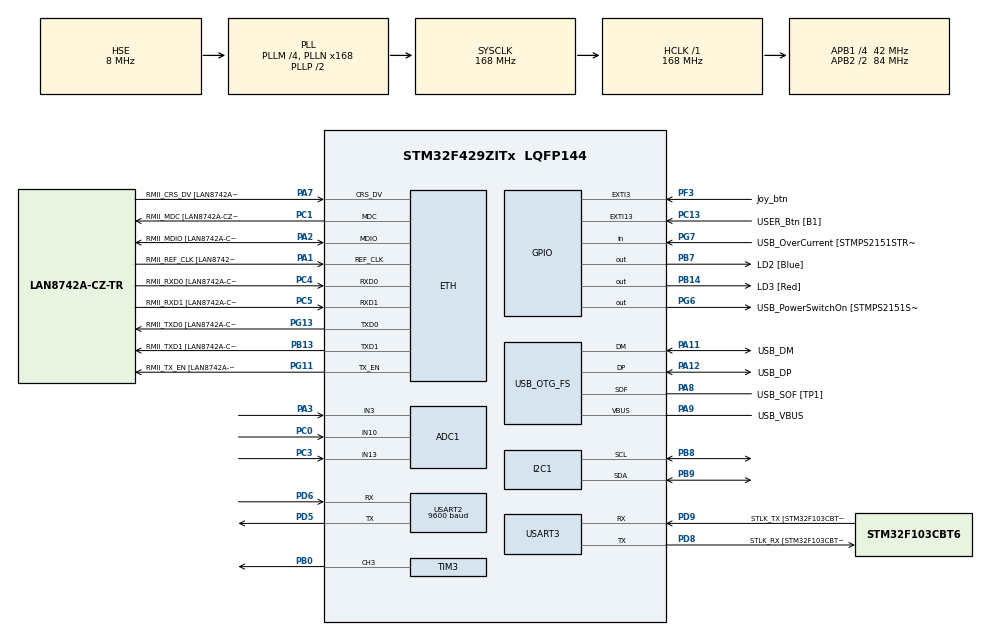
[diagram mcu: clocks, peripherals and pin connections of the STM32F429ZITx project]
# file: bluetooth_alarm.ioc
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ADC1.Channel-0\#ChannelRegularConversion=ADC_CHANNEL_10
ADC1.Channel-1\#ChannelRegularConversion=ADC_CHANNEL_13
ADC1.ContinuousConvMode=ENABLE
ADC1.DMAContinuousRequests=ENABLE
ADC1.ExternalTrigConv=ADC_SOFTWARE_START
ADC1.NbrOfConversion=2
ADC1.NbrOfConversionFlag=1
ADC1.Rank-0\#ChannelRegularConversion=1
ADC1.Rank-1\#ChannelRegularConversion=2
ADC1.SamplingTime-0\#ChannelRegularConversion=ADC_SAMPLETIME_84CYCLES
ADC1.SamplingTime-1\#ChannelRegularConversion=ADC_SAMPLETIME_84CYCLES
ADC1.ScanConvMode=ENABLE
ADC1.master=1
Dma.ADC1.0.Direction=DMA_PERIPH_TO_MEMORY
Dma.ADC1.0.FIFOMode=DMA_FIFOMODE_DISABLE
Dma.ADC1.0.Instance=DMA2_Stream0
Dma.ADC1.0.MemDataAlignment=DMA_MDATAALIGN_WORD
Dma.ADC1.0.MemInc=DMA_MINC_ENABLE
Dma.ADC1.0.Mode=DMA_CIRCULAR
Dma.ADC1.0.PeriphDataAlignment=DMA_PDATAALIGN_WORD
Dma.ADC1.0.PeriphInc=DMA_PINC_DISABLE
Dma.ADC1.0.Priority=DMA_PRIORITY_LOW
Dma.Request0=ADC1
ETH.MediaInterface=HAL_ETH_RMII_MODE
ETH.PHY_Name=LAN8742A_PHY_ADDRESS
ETH.PHY_Value=0
ETH.PhyAddress=0
Mcu.Family=STM32F4
Mcu.Name=STM32F429ZITx
Mcu.Package=LQFP144
NVIC.ADC_IRQn=true\:0\:0\:false\:true\:true\:3\:true\:true\:true
NVIC.DMA2_Stream0_IRQn=true\:0\:0\:false\:false\:true\:false\:true\:true
NVIC.EXTI15_10_IRQn=true\:0\:0\:false\:true\:true\:2\:true\:true\:true
NVIC.EXTI3_IRQn=true\:0\:0\:false\:false\:true\:true\:true\:true
NVIC.PriorityGroup=NVIC_PRIORITYGROUP_4
NVIC.RTC_Alarm_IRQn=true\:0\:0\:false\:true\:true\:4\:true\:true\:true
NVIC.TIM2_IRQn=true\:0\:0\:false\:true\:true\:5\:true\:true\:true
NVIC.USART2_IRQn=true\:0\:0\:false\:true\:true\:6\:true\:true\:true
NVIC.USART3_IRQn=true\:0\:0\:false\:true\:true\:1\:true\:true\:true
PA1.GPIO_Label=RMII_REF_CLK [LAN8742A-CZ-TR_REFCLK0]
PA1.Mode=RMII
PA1.Signal=ETH_REF_CLK
PA10.GPIO_Label=USB_ID
PA10.Signal=USB_OTG_FS_ID
PA11.GPIO_Label=USB_DM
PA11.Mode=Device_Only
PA11.Signal=USB_OTG_FS_DM
PA12.GPIO_Label=USB_DP
PA12.Mode=Device_Only
PA12.Signal=USB_OTG_FS_DP
PA13.GPIO_Label=TMS
PA13.Mode=Serial_Wire
PA13.Signal=SYS_JTMS-SWDIO
PA14.GPIO_Label=TCK
PA14.Mode=Serial_Wire
PA14.Signal=SYS_JTCK-SWCLK
PA2.GPIO_Label=RMII_MDIO [LAN8742A-CZ-TR_MDIO]
PA2.Mode=RMII
PA2.Signal=ETH_MDIO
PA3.Signal=ADCx_IN3
PA7.GPIO_Label=RMII_CRS_DV [LAN8742A-CZ-TR_CRS_DV]
PA7.Mode=RMII
PA7.Signal=ETH_CRS_DV
PA8.GPIO_Label=USB_SOF [TP1]
PA8.Mode=Activate_SOF_FS
PA8.Signal=USB_OTG_FS_SOF
PA9.GPIO_Label=USB_VBUS
PA9.Mode=Activate_VBUS
PA9.Signal=USB_OTG_FS_VBUS
PB0.Signal=S_TIM3_CH3
PB13.GPIO_Label=RMII_TXD1 [LAN8742A-CZ-TR_TXD1]
PB13.Mode=RMII
PB13.Signal=ETH_TXD1
PB14.GPIO_Label=LD3 [Red]
PB14.Signal=GPIO_Output
PB7.GPIO_Label=LD2 [Blue]
PB7.Signal=GPIO_Output
PB8.Mode=I2C
PB8.Signal=I2C1_SCL
PB9.Mode=I2C
PB9.Signal=I2C1_SDA
PC0.Signal=ADCx_IN10
PC1.GPIO_Label=RMII_MDC [LAN8742A-CZ-TR_MDC]
PC1.Mode=RMII
PC1.Signal=ETH_MDC
PC13.GPIO_Label=USER_Btn [B1]
PC13.Signal=GPXTI13
PC14/OSC32_IN.Mode=LSE-External-Oscillator
PC14/OSC32_IN.Signal=RCC_OSC32_IN
PC15/OSC32_OUT.Mode=LSE-External-Oscillator
PC15/OSC32_OUT.Signal=RCC_OSC32_OUT
PC3.Signal=ADCx_IN13
PC4.GPIO_Label=RMII_RXD0 [LAN8742A-CZ-TR_RXD0]
PC4.Mode=RMII
PC4.Signal=ETH_RXD0
PC5.GPIO_Label=RMII_RXD1 [LAN8742A-CZ-TR_RXD1]
PC5.Mode=RMII
PC5.Signal=ETH_RXD1
PD5.Mode=Asynchronous
PD5.Signal=USART2_TX
PD6.Mode=Asynchronous
PD6.Signal=USART2_RX
PD8.GPIO_Label=STLK_RX [STM32F103CBT6_PA3]
PD8.Mode=Asynchronous
PD8.Signal=USART3_TX
PD9.GPIO_Label=STLK_TX [STM32F103CBT6_PA2]
PD9.Mode=Asynchronous
PD9.Signal=USART3_RX
PF3.GPIO_Label=Joy_btn
PF3.GPIO_ModeDefaultEXTI=GPIO_MODE_IT_RISING_FALLING
PF3.GPIO_PuPd=GPIO_PULLUP
PF3.Signal=GPXTI3
PG11.GPIO_Label=RMII_TX_EN [LAN8742A-CZ-TR_TXEN]
PG11.Mode=RMII
PG11.Signal=ETH_TX_EN
PG13.GPIO_Label=RMII_TXD0 [LAN8742A-CZ-TR_TXD0]
PG13.Mode=RMII
PG13.Signal=ETH_TXD0
PG6.GPIO_Label=USB_PowerSwitchOn [STMPS2151STR_EN]
PG6.Signal=GPIO_Output
PG7.GPIO_Label=USB_OverCurrent [STMPS2151STR_FAULT]
PG7.Signal=GPIO_Input
PH0/OSC_IN.GPIO_Label=MCO [STM32F103CBT6_PA8]
PH0/OSC_IN.Mode=HSE-External-Clock-Source
PH0/OSC_IN.Signal=RCC_OSC_IN
PH1/OSC_OUT.Mode=HSE-External-Clock-Source
PH1/OSC_OUT.Signal=RCC_OSC_OUT
ProjectManager.HeapSize=0x200
ProjectManager.StackSize=0x400
ProjectManager.TargetToolchain=STM32CubeIDE
RCC.48MHZClocksFreq_Value=48000000
RCC.AHBFreq_Value=168000000
RCC.APB1CLKDivider=RCC_HCLK_DIV4
RCC.APB1Freq_Value=42000000
RCC.APB1TimFreq_Value=84000000
RCC.APB2CLKDivider=RCC_HCLK_DIV2
RCC.APB2Freq_Value=84000000
RCC.APB2TimCLKDivider=2
RCC.APB2TimFreq_Value=168000000
RCC.CortexFreq_Value=168000000
RCC.HCLKFreq_Value=168000000
RCC.HSE_VALUE=8000000
RCC.HSI_VALUE=16000000
RCC.PLLM=4
RCC.PLLMUL=RCC_PLL_MUL9
RCC.PLLN=168
RCC.PLLQ=7
RCC.PRESCALERUSB=RCC_USBCLKSOURCE_PLL_DIV1_5
RCC.RCC_RTC_Clock_Source=RCC_RTCCLKSOURCE_LSE
RCC.RCC_RTC_Clock_SourceVirtual=RCC_RTCCLKSOURCE_LSE
RCC.SYSCLKFreq_VALUE=168000000
RCC.SYSCLKSource=RCC_SYSCLKSOURCE_PLLCLK
RCC.SYSCLKSourceVirtual=RCC_SYSCLKSOURCE_PLLCLK
RCC.USBFreq_Value=48000000
RCC.VCOOutputFreq_Value=336000000
RTC.Alarm=RTC_ALARM_A
RTC.AlarmMaskDateWeekDay=RTC_ALARMMASK_DATEWEEKDAY
RTC.Date=16
RTC.DayLightSaving=RTC_DAYLIGHTSAVING_NONE
RTC.Format=RTC_FORMAT_BCD
RTC.HourFormat=RTC_HOURFORMAT_12
RTC.Hours=0
RTC.Hours_A=0
RTC.Minutes=0
RTC.Month=RTC_MONTH_NOVEMBER
RTC.Seconds=0
RTC.Seconds_A=45
RTC.SubSeconds_A=0
RTC.WeekDay=RTC_WEEKDAY_THURSDAY
RTC.Year=23
SH.ADCx_IN10.0=ADC1_IN10,IN10
SH.ADCx_IN13.0=ADC1_IN13,IN13
SH.ADCx_IN3.0=ADC1_IN3,IN3
SH.S_TIM3_CH3.0=TIM3_CH3,PWM Generation3 CH3
TIM2.Period=200-1
TIM2.Prescaler=8400-1
TIM3.AutoReloadPreload=TIM_AUTORELOAD_PRELOAD_ENABLE
TIM3.Channel-PWM\ Generation3\ CH3=TIM_CHANNEL_3
TIM3.Period=199
TIM3.Prescaler=15
USART2.BaudRate=9600
USART2.VirtualMode=VM_ASYNC
USART3.VirtualMode=VM_ASYNC
USB_OTG_FS.VirtualMode=Device_Only
VP_RTC_VS_RTC_Activate.Mode=RTC_Enabled
VP_RTC_VS_RTC_Alarm_A_Intern.Mode=Alarm A
VP_RTC_VS_RTC_Calendar.Mode=RTC_Calendar
VP_TIM2_VS_ClockSourceINT.Mode=Internal
VP_TIM3_VS_ClockSourceINT.Mode=Internal
board=NUCLEO-F429ZI

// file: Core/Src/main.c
/* USER CODE BEGIN Header */
/**
 ******************************************************************************
 * @file           : main.c
 * @brief          : Main program body
 ******************************************************************************
 * @attention
 *
 * Copyright (c) 2023 STMicroelectronics.
 * All rights reserved.
 *
 * This software is licensed under terms that can be found in the LICENSE file
 * in the root directory of this software component.
 * If no LICENSE file comes with this software, it is provided AS-IS.
 *
 ******************************************************************************
 */
/* USER CODE END Header */
#include "main.h"
#include "string.h"

/* USER CODE BEGIN Includes */
#include "stdio.h"
//#include "flash.h"
#include "melody.h"
/* USER CODE END Includes */

/* USER CODE BEGIN PTD */
#define ADDR_FLASH_SECTOR_0     ((uint32_t)0x08000000) /* Base @ of Sector 0, 16 Kbytes */
#define ADDR_FLASH_SECTOR_1     ((uint32_t)0x08004000) /* Base @ of Sector 1, 16 Kbytes */
#define ADDR_FLASH_SECTOR_2     ((uint32_t)0x08008000) /* Base @ of Sector 2, 16 Kbytes */
#define ADDR_FLASH_SECTOR_3     ((uint32_t)0x0800C000) /* Base @ of Sector 3, 16 Kbytes */
#define ADDR_FLASH_SECTOR_4     ((uint32_t)0x08010000) /* Base @ of Sector 4, 64 Kbytes */
#define ADDR_FLASH_SECTOR_5     ((uint32_t)0x08020000) /* Base @ of Sector 5, 128 Kbytes */
#define ADDR_FLASH_SECTOR_6     ((uint32_t)0x08040000) /* Base @ of Sector 6, 128 Kbytes */
#define ADDR_FLASH_SECTOR_7     ((uint32_t)0x08060000) /* Base @ of Sector 7, 128 Kbytes */
#define ADDR_FLASH_SECTOR_8     ((uint32_t)0x08080000) /* Base @ of Sector 8, 128 Kbytes */
#define ADDR_FLASH_SECTOR_9     ((uint32_t)0x080A0000) /* Base @ of Sector 9, 128 Kbytes */
#define ADDR_FLASH_SECTOR_10    ((uint32_t)0x080C0000) /* Base @ of Sector 10, 128 Kbytes */
#define ADDR_FLASH_SECTOR_11    ((uint32_t)0x080E0000) /* Base @ of Sector 11, 128 Kbytes */

/* Base address of the Flash sectors Bank 2 */
#define ADDR_FLASH_SECTOR_12     ((uint32_t)0x08100000) /* Base @ of Sector 0, 16 Kbytes */
#define ADDR_FLASH_SECTOR_13     ((uint32_t)0x08104000) /* Base @ of Sector 1, 16 Kbytes */
#define ADDR_FLASH_SECTOR_14     ((uint32_t)0x08108000) /* Base @ of Sector 2, 16 Kbytes */
#define ADDR_FLASH_SECTOR_15     ((uint32_t)0x0810C000) /* Base @ of Sector 3, 16 Kbytes */
#define ADDR_FLASH_SECTOR_16     ((uint32_t)0x08110000) /* Base @ of Sector 4, 64 Kbytes */
#define ADDR_FLASH_SECTOR_17     ((uint32_t)0x08120000) /* Base @ of Sector 5, 128 Kbytes */
#define ADDR_FLASH_SECTOR_18     ((uint32_t)0x08140000) /* Base @ of Sector 6, 128 Kbytes */
#define ADDR_FLASH_SECTOR_19     ((uint32_t)0x08160000) /* Base @ of Sector 7, 128 Kbytes */
#define ADDR_FLASH_SECTOR_20     ((uint32_t)0x08180000) /* Base @ of Sector 8, 128 Kbytes  */
#define ADDR_FLASH_SECTOR_21     ((uint32_t)0x081A0000) /* Base @ of Sector 9, 128 Kbytes  */
#define ADDR_FLASH_SECTOR_22     ((uint32_t)0x081C0000) /* Base @ of Sector 10, 128 Kbytes */
#define ADDR_FLASH_SECTOR_23     ((uint32_t)0x081E0000) /* Base @ of Sector 11, 128 Kbytes */

enum CLOCK_MODE {
	NORMAL_STATE, TIME_SETTING, ALARM_TIME_SETTING, MUSIC_SELECT
};

enum CLOCK_BUTTON {
	NOTHING, UP, DOWN, RIGHT, LEFT, SELECT
};

struct clock_state {
	enum CLOCK_MODE mode;
	enum CLOCK_BUTTON button;
	int music_num;
};

typedef struct {
	int8_t hours;
	int8_t minutes;
	int8_t seconds;
} TimeTypeDef;

typedef struct {
	uint32_t magic_num;
	TimeTypeDef setting_time;
	TimeTypeDef alarm_time;
	int8_t alarm_music_num;
} NVitemTypeDef;

typedef struct {
	int8_t musicNum;
	char musicTitle[20];
} MusicTypeDef;

/* USER CODE END PTD */

/* USER CODE BEGIN PD */
#define LCD_ADDR 				(0x27 << 1)
#define FLASH_USER_START_ADDR   ADDR_FLASH_SECTOR_10
#define MAGIC_NUM 				0xdeadbeef
#define nv_items 				((NVitemTypeDef *) ADDR_FLASH_SECTOR_10)
#define BLE_MODE

/* USER CODE END PD */

ETH_TxPacketConfig TxConfig;
ETH_DMADescTypeDef  DMARxDscrTab[ETH_RX_DESC_CNT]; /* Ethernet Rx DMA Descriptors */
ETH_DMADescTypeDef  DMATxDscrTab[ETH_TX_DESC_CNT]; /* Ethernet Tx DMA Descriptors */

ADC_HandleTypeDef hadc1;
DMA_HandleTypeDef hdma_adc1;

ETH_HandleTypeDef heth;

I2C_HandleTypeDef hi2c1;

RTC_HandleTypeDef hrtc;

TIM_HandleTypeDef htim2;
TIM_HandleTypeDef htim3;

UART_HandleTypeDef huart2;
UART_HandleTypeDef huart3;

PCD_HandleTypeDef hpcd_USB_OTG_FS;

/* USER CODE BEGIN PV */
uint32_t xy[2];

uint32_t current_time, last_time, interval;
int btn_cnt = 0;

int t_position = 0;
int al_position = 0;
int mu_position = 0;

char showTime[30] = { 0 };
char ampm[2][3] = { "AM", "PM" };
char timeStr[30];
char temp_time_buf[30];

struct clock_state current_state;

TimeTypeDef ctime;
TimeTypeDef stime;
TimeTypeDef atime;

RTC_DateTypeDef sDate;
RTC_TimeTypeDef RTC_Time;
RTC_AlarmTypeDef RTC_Alarm;

uint8_t temp_flash_h;
uint8_t temp_flash_m;
uint8_t temp_flash_s;

NVitemTypeDef default_nvitem = { MAGIC_NUM, { 0, 0, 0 }, { 0, 0, 0 }, 0 };

MusicTypeDef alarmMusic[] = { { 0, "School Bell" }, { 1, "Jingle Bell" },
		{ 2, "Silent Night" }};

//uint8_t rx3_data;
uint8_t key_value;

uint32_t FirstSector = 0, NbOfSectors = 0;
uint32_t Address = 0, SECTORError = 0;
__IO uint32_t data32 = 0, MemoryProgramStatus = 0;

/*Variable used for Erase procedure*/
static FLASH_EraseInitTypeDef EraseInitStruct;

/* USER CODE END PV */

void SystemClock_Config(void);
static void MX_GPIO_Init(void);
static void MX_DMA_Init(void);
static void MX_ETH_Init(void);
static void MX_USART3_UART_Init(void);
static void MX_USB_OTG_FS_PCD_Init(void);
static void MX_ADC1_Init(void);
static void MX_I2C1_Init(void);
static void MX_RTC_Init(void);
static void MX_TIM2_Init(void);
static void MX_TIM3_Init(void);
static void MX_USART2_UART_Init(void);
static void MX_NVIC_Init(void);
/* USER CODE BEGIN PFP */
int _write(int file, char *ptr, int len);
HAL_StatusTypeDef HAL_ADC_Start_DMA(ADC_HandleTypeDef* hadc, uint32_t* pData, uint32_t Length);
void init(void);
uint8_t readFlash(uint32_t addr);
void init_getFlashTime(void);
void init_getFlashAlarm(void);
void init_getFlashMusic(void);
void lcd_clear(void);
void get_time(void);
void showCurrentTime(void);
void timeDisplay(void);
enum CLOCK_BUTTON joyStick_btn_chk(void);
enum CLOCK_BUTTON key_value_check(void);
HAL_StatusTypeDef update_nvitems(void);
void time_set_mode(void);
void alarm_set_mode(void);
void music_set_mode(void);
void musicOn(void);
void schoolBellPlay(void);
void nabiPlay(void);
void musicDisplay(int musicNumber);
void musicSelect(int musicNumber);
/* USER CODE END PFP */

int main(void)
{

  /* MCU Configuration--------------------------------------------------------*/

  /* Reset of all peripherals, Initializes the Flash interface and the Systick. */
  HAL_Init();

  /* Configure the system clock */
  SystemClock_Config();

  /* Initialize all configured peripherals */
  MX_GPIO_Init();
  MX_DMA_Init();
  MX_ETH_Init();
  MX_USART3_UART_Init();
  MX_USB_OTG_FS_PCD_Init();
  MX_ADC1_Init();
  MX_I2C1_Init();
  MX_RTC_Init();
  MX_TIM2_Init();
  MX_TIM3_Init();
  MX_USART2_UART_Init();

  /* Initialize interrupts */
  MX_NVIC_Init();
  /* USER CODE BEGIN 2 */
	HAL_ADC_Start_DMA(&hadc1, xy, 2);

	lcd_init();
	lcd_clear();
//	HAL_UART_Receive_IT(&huart3, &rx3_data, sizeof(rx3_data));
	HAL_UART_Receive_IT(&huart2, &key_value, sizeof(key_value));
	current_state.mode = NORMAL_STATE;

	if(nv_items->magic_num == MAGIC_NUM) {
		init_getFlash();
		printf("this is main init magic_num exist\r\n");
	} else {
		update_nvitems();
		printf("this is main init update_nvitems\r\n");
	}
  /* USER CODE END 2 */

  /* Infinite loop */
  /* USER CODE BEGIN WHILE */

	while (1) {

		switch (current_state.mode) {
		case NORMAL_STATE:
			get_time();
			break;
		case TIME_SETTING:
			time_set_mode();
			break;
		case ALARM_TIME_SETTING:
			alarm_set_mode();
			break;
		case MUSIC_SELECT:
			music_set_mode();
			break;
		default:
			break;
		}

    /* USER CODE END WHILE */

	}
}

void SystemClock_Config(void)
{
  RCC_OscInitTypeDef RCC_OscInitStruct = {0};
  RCC_ClkInitTypeDef RCC_ClkInitStruct = {0};

  /** Configure the main internal regulator output voltage
  */
  __HAL_RCC_PWR_CLK_ENABLE();
  __HAL_PWR_VOLTAGESCALING_CONFIG(PWR_REGULATOR_VOLTAGE_SCALE1);

  /** Initializes the RCC Oscillators according to the specified parameters
  * in the RCC_OscInitTypeDef structure.
  */
  RCC_OscInitStruct.OscillatorType = RCC_OSCILLATORTYPE_HSE|RCC_OSCILLATORTYPE_LSE;
  RCC_OscInitStruct.HSEState = RCC_HSE_BYPASS;
  RCC_OscInitStruct.LSEState = RCC_LSE_ON;
  RCC_OscInitStruct.PLL.PLLState = RCC_PLL_ON;
  RCC_OscInitStruct.PLL.PLLSource = RCC_PLLSOURCE_HSE;
  RCC_OscInitStruct.PLL.PLLM = 4;
  RCC_OscInitStruct.PLL.PLLN = 168;
  RCC_OscInitStruct.PLL.PLLP = RCC_PLLP_DIV2;
  RCC_OscInitStruct.PLL.PLLQ = 7;
  if (HAL_RCC_OscConfig(&RCC_OscInitStruct) != HAL_OK)
  {
    Error_Handler();
  }

  /** Initializes the CPU, AHB and APB buses clocks
  */
  RCC_ClkInitStruct.ClockType = RCC_CLOCKTYPE_HCLK|RCC_CLOCKTYPE_SYSCLK
                              |RCC_CLOCKTYPE_PCLK1|RCC_CLOCKTYPE_PCLK2;
  RCC_ClkInitStruct.SYSCLKSource = RCC_SYSCLKSOURCE_PLLCLK;
  RCC_ClkInitStruct.AHBCLKDivider = RCC_SYSCLK_DIV1;
  RCC_ClkInitStruct.APB1CLKDivider = RCC_HCLK_DIV4;
  RCC_ClkInitStruct.APB2CLKDivider = RCC_HCLK_DIV2;

  if (HAL_RCC_ClockConfig(&RCC_ClkInitStruct, FLASH_LATENCY_5) != HAL_OK)
  {
    Error_Handler();
  }
}

/**
  * @brief NVIC Configuration.
  * @retval None
  */
static void MX_NVIC_Init(void)
{
  /* USART3_IRQn interrupt configuration */
  HAL_NVIC_SetPriority(USART3_IRQn, 0, 0);
  HAL_NVIC_EnableIRQ(USART3_IRQn);
  /* EXTI15_10_IRQn interrupt configuration */
  HAL_NVIC_SetPriority(EXTI15_10_IRQn, 0, 0);
  HAL_NVIC_EnableIRQ(EXTI15_10_IRQn);
  /* ADC_IRQn interrupt configuration */
  HAL_NVIC_SetPriority(ADC_IRQn, 0, 0);
  HAL_NVIC_EnableIRQ(ADC_IRQn);
  /* RTC_Alarm_IRQn interrupt configuration */
  HAL_NVIC_SetPriority(RTC_Alarm_IRQn, 0, 0);
  HAL_NVIC_EnableIRQ(RTC_Alarm_IRQn);
  /* TIM2_IRQn interrupt configuration */
  HAL_NVIC_SetPriority(TIM2_IRQn, 0, 0);
  HAL_NVIC_EnableIRQ(TIM2_IRQn);
  /* USART2_IRQn interrupt configuration */
  HAL_NVIC_SetPriority(USART2_IRQn, 0, 0);
  HAL_NVIC_EnableIRQ(USART2_IRQn);
}

static void MX_ADC1_Init(void)
{

  ADC_ChannelConfTypeDef sConfig = {0};

  /** Configure the global features of the ADC (Clock, Resolution, Data Alignment and number of conversion)
  */
  hadc1.Instance = ADC1;
  hadc1.Init.ClockPrescaler = ADC_CLOCK_SYNC_PCLK_DIV4;
  hadc1.Init.Resolution = ADC_RESOLUTION_12B;
  hadc1.Init.ScanConvMode = ENABLE;
  hadc1.Init.ContinuousConvMode = ENABLE;
  hadc1.Init.DiscontinuousConvMode = DISABLE;
  hadc1.Init.ExternalTrigConvEdge = ADC_EXTERNALTRIGCONVEDGE_NONE;
  hadc1.Init.ExternalTrigConv = ADC_SOFTWARE_START;
  hadc1.Init.DataAlign = ADC_DATAALIGN_RIGHT;
  hadc1.Init.NbrOfConversion = 2;
  hadc1.Init.DMAContinuousRequests = ENABLE;
  hadc1.Init.EOCSelection = ADC_EOC_SINGLE_CONV;
  if (HAL_ADC_Init(&hadc1) != HAL_OK)
  {
    Error_Handler();
  }

  /** Configure for the selected ADC regular channel its corresponding rank in the sequencer and its sample time.
  */
  sConfig.Channel = ADC_CHANNEL_10;
  sConfig.Rank = 1;
  sConfig.SamplingTime = ADC_SAMPLETIME_84CYCLES;
  if (HAL_ADC_ConfigChannel(&hadc1, &sConfig) != HAL_OK)
  {
    Error_Handler();
  }

  /** Configure for the selected ADC regular channel its corresponding rank in the sequencer and its sample time.
  */
  sConfig.Channel = ADC_CHANNEL_13;
  sConfig.Rank = 2;
  if (HAL_ADC_ConfigChannel(&hadc1, &sConfig) != HAL_OK)
  {
    Error_Handler();
  }

}

static void MX_ETH_Init(void)
{

   static uint8_t MACAddr[6];

  heth.Instance = ETH;
  MACAddr[0] = 0x00;
  MACAddr[1] = 0x80;
  MACAddr[2] = 0xE1;
  MACAddr[3] = 0x00;
  MACAddr[4] = 0x00;
  MACAddr[5] = 0x00;
  heth.Init.MACAddr = &MACAddr[0];
  heth.Init.MediaInterface = HAL_ETH_RMII_MODE;
  heth.Init.TxDesc = DMATxDscrTab;
  heth.Init.RxDesc = DMARxDscrTab;
  heth.Init.RxBuffLen = 1524;

  if (HAL_ETH_Init(&heth) != HAL_OK)
  {
    Error_Handler();
  }

  memset(&TxConfig, 0 , sizeof(ETH_TxPacketConfig));
  TxConfig.Attributes = ETH_TX_PACKETS_FEATURES_CSUM | ETH_TX_PACKETS_FEATURES_CRCPAD;
  TxConfig.ChecksumCtrl = ETH_CHECKSUM_IPHDR_PAYLOAD_INSERT_PHDR_CALC;
  TxConfig.CRCPadCtrl = ETH_CRC_PAD_INSERT;

}

static void MX_I2C1_Init(void)
{

  hi2c1.Instance = I2C1;
  hi2c1.Init.ClockSpeed = 100000;
  hi2c1.Init.DutyCycle = I2C_DUTYCYCLE_2;
  hi2c1.Init.OwnAddress1 = 0;
  hi2c1.Init.AddressingMode = I2C_ADDRESSINGMODE_7BIT;
  hi2c1.Init.DualAddressMode = I2C_DUALADDRESS_DISABLE;
  hi2c1.Init.OwnAddress2 = 0;
  hi2c1.Init.GeneralCallMode = I2C_GENERALCALL_DISABLE;
  hi2c1.Init.NoStretchMode = I2C_NOSTRETCH_DISABLE;
  if (HAL_I2C_Init(&hi2c1) != HAL_OK)
  {
    Error_Handler();
  }

  /** Configure Analogue filter
  */
  if (HAL_I2CEx_ConfigAnalogFilter(&hi2c1, I2C_ANALOGFILTER_ENABLE) != HAL_OK)
  {
    Error_Handler();
  }

  /** Configure Digital filter
  */
  if (HAL_I2CEx_ConfigDigitalFilter(&hi2c1, 0) != HAL_OK)
  {
    Error_Handler();
  }

}

static void MX_RTC_Init(void)
{

  RTC_TimeTypeDef sTime = {0};
  RTC_DateTypeDef sDate = {0};
  RTC_AlarmTypeDef sAlarm = {0};

  /** Initialize RTC Only
  */
  hrtc.Instance = RTC;
  hrtc.Init.HourFormat = RTC_HOURFORMAT_12;
  hrtc.Init.AsynchPrediv = 127;
  hrtc.Init.SynchPrediv = 255;
  hrtc.Init.OutPut = RTC_OUTPUT_DISABLE;
  hrtc.Init.OutPutPolarity = RTC_OUTPUT_POLARITY_HIGH;
  hrtc.Init.OutPutType = RTC_OUTPUT_TYPE_OPENDRAIN;
  if (HAL_RTC_Init(&hrtc) != HAL_OK)
  {
    Error_Handler();
  }

  /** Initialize RTC and set the Time and Date
  */
  sTime.Hours = 0;
  sTime.Minutes = 0x0;
  sTime.Seconds = 0x0;
  sTime.TimeFormat = RTC_HOURFORMAT12_AM;
  sTime.DayLightSaving = RTC_DAYLIGHTSAVING_NONE;
  sTime.StoreOperation = RTC_STOREOPERATION_RESET;
  if (HAL_RTC_SetTime(&hrtc, &sTime, RTC_FORMAT_BCD) != HAL_OK)
  {
    Error_Handler();
  }
  sDate.WeekDay = RTC_WEEKDAY_THURSDAY;
  sDate.Month = RTC_MONTH_NOVEMBER;
  sDate.Date = 0x16;
  sDate.Year = 0x23;

  if (HAL_RTC_SetDate(&hrtc, &sDate, RTC_FORMAT_BCD) != HAL_OK)
  {
    Error_Handler();
  }

  /** Enable the Alarm A
  */
  sAlarm.AlarmTime.Hours = 0;
  sAlarm.AlarmTime.Minutes = 0x0;
  sAlarm.AlarmTime.Seconds = 0x45;
  sAlarm.AlarmTime.SubSeconds = 0x0;
  sAlarm.AlarmTime.TimeFormat = RTC_HOURFORMAT12_AM;
  sAlarm.AlarmTime.DayLightSaving = RTC_DAYLIGHTSAVING_NONE;
  sAlarm.AlarmTime.StoreOperation = RTC_STOREOPERATION_RESET;
  sAlarm.AlarmMask = RTC_ALARMMASK_DATEWEEKDAY;
  sAlarm.AlarmSubSecondMask = RTC_ALARMSUBSECONDMASK_ALL;
  sAlarm.AlarmDateWeekDaySel = RTC_ALARMDATEWEEKDAYSEL_DATE;
  sAlarm.AlarmDateWeekDay = 0x1;
  sAlarm.Alarm = RTC_ALARM_A;
  if (HAL_RTC_SetAlarm_IT(&hrtc, &sAlarm, RTC_FORMAT_BCD) != HAL_OK)
  {
    Error_Handler();
  }

}

static void MX_TIM2_Init(void)
{

  TIM_ClockConfigTypeDef sClockSourceConfig = {0};
  TIM_MasterConfigTypeDef sMasterConfig = {0};

  htim2.Instance = TIM2;
  htim2.Init.Prescaler = 8400-1;
  htim2.Init.CounterMode = TIM_COUNTERMODE_UP;
  htim2.Init.Period = 200-1;
  htim2.Init.ClockDivision = TIM_CLOCKDIVISION_DIV1;
  htim2.Init.AutoReloadPreload = TIM_AUTORELOAD_PRELOAD_DISABLE;
  if (HAL_TIM_Base_Init(&htim2) != HAL_OK)
  {
    Error_Handler();
  }
  sClockSourceConfig.ClockSource = TIM_CLOCKSOURCE_INTERNAL;
  if (HAL_TIM_ConfigClockSource(&htim2, &sClockSourceConfig) != HAL_OK)
  {
    Error_Handler();
  }
  sMasterConfig.MasterOutputTrigger = TIM_TRGO_RESET;
  sMasterConfig.MasterSlaveMode = TIM_MASTERSLAVEMODE_DISABLE;
  if (HAL_TIMEx_MasterConfigSynchronization(&htim2, &sMasterConfig) != HAL_OK)
  {
    Error_Handler();
  }

}

static void MX_TIM3_Init(void)
{

  TIM_ClockConfigTypeDef sClockSourceConfig = {0};
  TIM_MasterConfigTypeDef sMasterConfig = {0};
  TIM_OC_InitTypeDef sConfigOC = {0};

  htim3.Instance = TIM3;
  htim3.Init.Prescaler = 15;
  htim3.Init.CounterMode = TIM_COUNTERMODE_UP;
  htim3.Init.Period = 199;
  htim3.Init.ClockDivision = TIM_CLOCKDIVISION_DIV1;
  htim3.Init.AutoReloadPreload = TIM_AUTORELOAD_PRELOAD_ENABLE;
  if (HAL_TIM_Base_Init(&htim3) != HAL_OK)
  {
    Error_Handler();
  }
  sClockSourceConfig.ClockSource = TIM_CLOCKSOURCE_INTERNAL;
  if (HAL_TIM_ConfigClockSource(&htim3, &sClockSourceConfig) != HAL_OK)
  {
    Error_Handler();
  }
  if (HAL_TIM_PWM_Init(&htim3) != HAL_OK)
  {
    Error_Handler();
  }
  sMasterConfig.MasterOutputTrigger = TIM_TRGO_RESET;
  sMasterConfig.MasterSlaveMode = TIM_MASTERSLAVEMODE_DISABLE;
  if (HAL_TIMEx_MasterConfigSynchronization(&htim3, &sMasterConfig) != HAL_OK)
  {
    Error_Handler();
  }
  sConfigOC.OCMode = TIM_OCMODE_PWM1;
  sConfigOC.Pulse = 0;
  sConfigOC.OCPolarity = TIM_OCPOLARITY_HIGH;
  sConfigOC.OCFastMode = TIM_OCFAST_DISABLE;
  if (HAL_TIM_PWM_ConfigChannel(&htim3, &sConfigOC, TIM_CHANNEL_3) != HAL_OK)
  {
    Error_Handler();
  }
  HAL_TIM_MspPostInit(&htim3);

}

static void MX_USART2_UART_Init(void)
{

  huart2.Instance = USART2;
  huart2.Init.BaudRate = 9600;
  huart2.Init.WordLength = UART_WORDLENGTH_8B;
  huart2.Init.StopBits = UART_STOPBITS_1;
  huart2.Init.Parity = UART_PARITY_NONE;
  huart2.Init.Mode = UART_MODE_TX_RX;
  huart2.Init.HwFlowCtl = UART_HWCONTROL_NONE;
  huart2.Init.OverSampling = UART_OVERSAMPLING_16;
  if (HAL_UART_Init(&huart2) != HAL_OK)
  {
    Error_Handler();
  }

}

static void MX_USART3_UART_Init(void)
{

  huart3.Instance = USART3;
  huart3.Init.BaudRate = 115200;
  huart3.Init.WordLength = UART_WORDLENGTH_8B;
  huart3.Init.StopBits = UART_STOPBITS_1;
  huart3.Init.Parity = UART_PARITY_NONE;
  huart3.Init.Mode = UART_MODE_TX_RX;
  huart3.Init.HwFlowCtl = UART_HWCONTROL_NONE;
  huart3.Init.OverSampling = UART_OVERSAMPLING_16;
  if (HAL_UART_Init(&huart3) != HAL_OK)
  {
    Error_Handler();
  }

}

static void MX_USB_OTG_FS_PCD_Init(void)
{

  hpcd_USB_OTG_FS.Instance = USB_OTG_FS;
  hpcd_USB_OTG_FS.Init.dev_endpoints = 4;
  hpcd_USB_OTG_FS.Init.speed = PCD_SPEED_FULL;
  hpcd_USB_OTG_FS.Init.dma_enable = DISABLE;
  hpcd_USB_OTG_FS.Init.phy_itface = PCD_PHY_EMBEDDED;
  hpcd_USB_OTG_FS.Init.Sof_enable = ENABLE;
  hpcd_USB_OTG_FS.Init.low_power_enable = DISABLE;
  hpcd_USB_OTG_FS.Init.lpm_enable = DISABLE;
  hpcd_USB_OTG_FS.Init.vbus_sensing_enable = ENABLE;
  hpcd_USB_OTG_FS.Init.use_dedicated_ep1 = DISABLE;
  if (HAL_PCD_Init(&hpcd_USB_OTG_FS) != HAL_OK)
  {
    Error_Handler();
  }

}

static void MX_DMA_Init(void)
{

  /* DMA controller clock enable */
  __HAL_RCC_DMA2_CLK_ENABLE();

  /* DMA interrupt init */
  /* DMA2_Stream0_IRQn interrupt configuration */
  HAL_NVIC_SetPriority(DMA2_Stream0_IRQn, 0, 0);
  HAL_NVIC_EnableIRQ(DMA2_Stream0_IRQn);

}

static void MX_GPIO_Init(void)
{
  GPIO_InitTypeDef GPIO_InitStruct = {0};

  /* GPIO Ports Clock Enable */
  __HAL_RCC_GPIOC_CLK_ENABLE();
  __HAL_RCC_GPIOF_CLK_ENABLE();
  __HAL_RCC_GPIOH_CLK_ENABLE();
  __HAL_RCC_GPIOA_CLK_ENABLE();
  __HAL_RCC_GPIOB_CLK_ENABLE();
  __HAL_RCC_GPIOD_CLK_ENABLE();
  __HAL_RCC_GPIOG_CLK_ENABLE();

  /*Configure GPIO pin Output Level */
  HAL_GPIO_WritePin(GPIOB, LD3_Pin|LD2_Pin, GPIO_PIN_RESET);

  /*Configure GPIO pin Output Level */
  HAL_GPIO_WritePin(USB_PowerSwitchOn_GPIO_Port, USB_PowerSwitchOn_Pin, GPIO_PIN_RESET);

  /*Configure GPIO pin : USER_Btn_Pin */
  GPIO_InitStruct.Pin = USER_Btn_Pin;
  GPIO_InitStruct.Mode = GPIO_MODE_IT_RISING;
  GPIO_InitStruct.Pull = GPIO_NOPULL;
  HAL_GPIO_Init(USER_Btn_GPIO_Port, &GPIO_InitStruct);

  /*Configure GPIO pin : Joy_btn_Pin */
  GPIO_InitStruct.Pin = Joy_btn_Pin;
  GPIO_InitStruct.Mode = GPIO_MODE_IT_RISING_FALLING;
  GPIO_InitStruct.Pull = GPIO_PULLUP;
  HAL_GPIO_Init(Joy_btn_GPIO_Port, &GPIO_InitStruct);

  /*Configure GPIO pins : LD3_Pin LD2_Pin */
  GPIO_InitStruct.Pin = LD3_Pin|LD2_Pin;
  GPIO_InitStruct.Mode = GPIO_MODE_OUTPUT_PP;
  GPIO_InitStruct.Pull = GPIO_NOPULL;
  GPIO_InitStruct.Speed = GPIO_SPEED_FREQ_LOW;
  HAL_GPIO_Init(GPIOB, &GPIO_InitStruct);

  /*Configure GPIO pin : USB_PowerSwitchOn_Pin */
  GPIO_InitStruct.Pin = USB_PowerSwitchOn_Pin;
  GPIO_InitStruct.Mode = GPIO_MODE_OUTPUT_PP;
  GPIO_InitStruct.Pull = GPIO_NOPULL;
  GPIO_InitStruct.Speed = GPIO_SPEED_FREQ_LOW;
  HAL_GPIO_Init(USB_PowerSwitchOn_GPIO_Port, &GPIO_InitStruct);

  /*Configure GPIO pin : USB_OverCurrent_Pin */
  GPIO_InitStruct.Pin = USB_OverCurrent_Pin;
  GPIO_InitStruct.Mode = GPIO_MODE_INPUT;
  GPIO_InitStruct.Pull = GPIO_NOPULL;
  HAL_GPIO_Init(USB_OverCurrent_GPIO_Port, &GPIO_InitStruct);

  /* EXTI interrupt init*/
  HAL_NVIC_SetPriority(EXTI3_IRQn, 0, 0);
  HAL_NVIC_EnableIRQ(EXTI3_IRQn);

}

/* USER CODE BEGIN 4 */
void HAL_GPIO_EXTI_Callback(uint16_t GPIO_Pin) {
	if (GPIO_Pin == GPIO_PIN_3) {
		HAL_GPIO_TogglePin(GPIOB, LD3_Pin);
		current_time = HAL_GetTick();
		interval = current_time - last_time;
		last_time = current_time;

		if (HAL_GPIO_ReadPin(GPIOF, GPIO_PIN_3) == 1) {
			if (interval < 130) {
				btn_cnt += 3;
			} else if (interval >= 130 && interval < 200) {
				printf("One click!!  interval = %u\r\n",
						(unsigned int) interval);
				btn_cnt = 0;
				current_state.mode = TIME_SETTING;
			} else if (interval >= 300 && interval <= 1000) {
				printf("Long click!!  interval = %u\r\n",
						(unsigned int) interval);
				btn_cnt = 0;
				current_state.mode = ALARM_TIME_SETTING;
			}
			if (btn_cnt >= 5) {
				printf("Double click!!  interval = %u   btn_cnt = %d  \r\n",
						(unsigned int) interval, btn_cnt);
				btn_cnt = 0;
				current_state.mode = MUSIC_SELECT;
			}
		}
	}
}

void HAL_RTC_AlarmAEventCallback(RTC_HandleTypeDef *hrtc) {
	printf("Alarm!! Alarm time: %s %d: %d: %d \r\n",
			ampm[RTC_Alarm.AlarmTime.TimeFormat], RTC_Alarm.AlarmTime.Hours,
			RTC_Alarm.AlarmTime.Minutes, RTC_Alarm.AlarmTime.Seconds);

//	start = 1;
//	seq = 0;
//
//	HAL_TIM_Base_Start_IT(&htim2);
//	HAL_TIM_PWM_Start(&htim3, TIM_CHANNEL_3);
}

void HAL_TIM_PeriodElapsedCallback(TIM_HandleTypeDef *htim) {

}

void HAL_UART_RxCpltCallback(UART_HandleTypeDef* huart) {
	/* between board and pc */
//	if (huart->Instance == USART3) {
//		HAL_UART_Transmit(&huart2, &rx3_data, sizeof(rx3_data), 10);
//		HAL_UART_Receive_IT(&huart3, &rx3_data, sizeof(rx3_data));
//		if (rx3_data == 'b') {
//			HAL_GPIO_TogglePin(GPIOB, LD2_Pin);
//			printf("\r  pressed b\r\n");
//		}
//	}

	/* between bluetooth and board */
	if (huart->Instance == USART2) {
		HAL_UART_Transmit(&huart3, &key_value, sizeof(key_value), 10);
		HAL_UART_Receive_IT(&huart2, &key_value, sizeof(key_value));
//		if (key_value == 'c') {
//			HAL_GPIO_TogglePin(GPIOB, LD3_Pin);
//			printf("pressed c");
//		}

		switch(key_value) {
		case 't':
			printf("  pressed t!");
			current_state.mode = TIME_SETTING;
			break;
		case 'a':
			printf("  pressed a!");
			current_state.mode = ALARM_TIME_SETTING;
			break;
		case 'm':
			printf("  pressed m!");
			current_state.mode = MUSIC_SELECT;
			break;
		case 'u':
			printf("  pressed u!");
			current_state.button = UP;
			key_value = 0;
			break;
		case 'd':
			printf("  pressed d!");
			current_state.button = DOWN;
			key_value = 0;
			break;
		case 'r':
			printf("  pressed r!");
			current_state.button = RIGHT;
			key_value = 0;
			break;
		case 'l':
			printf("  pressed l!");
			current_state.button = LEFT;
			key_value = 0;
			break;
		default:
			break;
		}
	}
}

int _write(int file, char *ptr, int len) {
	HAL_UART_Transmit(&huart3, (uint8_t*) ptr, len, 500);
	return len;
}

uint8_t readFlash(uint32_t addr) {
	uint8_t value = *(uint8_t*) addr;

//	printf("flash value=%d\r\n", value);

	return value;
}

void init_getFlash() {
	RTC_Time.Hours = readFlash(FLASH_USER_START_ADDR + 4);
	RTC_Time.Minutes = readFlash(FLASH_USER_START_ADDR + 5);
	RTC_Time.Seconds = readFlash(FLASH_USER_START_ADDR + 6);

	HAL_RTC_SetTime(&hrtc, &RTC_Time, RTC_FORMAT_BIN);

	atime.hours = readFlash(FLASH_USER_START_ADDR + 7);
	atime.minutes = readFlash(FLASH_USER_START_ADDR + 8);
	atime.seconds = readFlash(FLASH_USER_START_ADDR + 9);

	current_state.music_num = readFlash(FLASH_USER_START_ADDR + 10);

	printf("Setting time: %d : %d : %d \r\n", RTC_Time.Hours, RTC_Time.Minutes,
			RTC_Time.Seconds);
	printf("Setting Alarm time: %d : %d : %d \r\n", atime.hours, atime.minutes,
			atime.seconds);
	printf("Setting Music: %d %s\r\n", current_state.music_num,
			alarmMusic[current_state.music_num].musicTitle);
}

void lcd_clear() {
	LCD_SendCommand(LCD_ADDR, 0b00000001);
}

void get_time(void) {
	HAL_RTC_GetTime(&hrtc, &RTC_Time, RTC_FORMAT_BIN);
	HAL_RTC_GetDate(&hrtc, &sDate, RTC_FORMAT_BIN);

	sprintf((char*) temp_time_buf, "%s %02d: %02d: %02d  ",
			ampm[RTC_Time.TimeFormat], RTC_Time.Hours, RTC_Time.Minutes,
			RTC_Time.Seconds);

	showCurrentTime();
}

void showCurrentTime() {
	LCD_SendCommand(LCD_ADDR, 0b10000000);
	LCD_SendString(LCD_ADDR, "Current Time ");

	LCD_SendCommand(LCD_ADDR, 0b11000000);
	LCD_SendString(LCD_ADDR, temp_time_buf);
}

void timeDisplay() {
	uint8_t hours;
	uint8_t minutes;
	uint8_t seconds;

	if (current_state.mode == TIME_SETTING) {
		LCD_SendCommand(LCD_ADDR, 0b10000000);
		LCD_SendString(LCD_ADDR, "Time Setting ");

		hours = stime.hours;
		minutes = stime.minutes;
		seconds = stime.seconds;
	} else if (current_state.mode == ALARM_TIME_SETTING) {
		LCD_SendCommand(LCD_ADDR, 0b10000000);
		LCD_SendString(LCD_ADDR, "Alarm Setting ");

		hours = atime.hours;
		minutes = atime.minutes;
		seconds = atime.seconds;
	}

	if (hours >= 12) {
		if (current_state.mode == TIME_SETTING) {
			sprintf(timeStr, "%s %02d: %02d: %02d   ", ampm[RTC_Time.TimeFormat],
					hours - 12, minutes, seconds);
		} else if (current_state.mode == ALARM_TIME_SETTING) {
			sprintf(timeStr, "%s %02d: %02d: %02d   ",
					ampm[RTC_Alarm.AlarmTime.TimeFormat], hours - 12, minutes,
					seconds);
		}
	} else {
		if (current_state.mode == TIME_SETTING) {
			sprintf(timeStr, "%s %02d: %02d: %02d   ", ampm[RTC_Time.TimeFormat],
					hours, minutes, seconds);
		} else if (current_state.mode == ALARM_TIME_SETTING) {
			sprintf(timeStr, "%s %02d: %02d: %02d   ",
					ampm[RTC_Alarm.AlarmTime.TimeFormat], hours, minutes,
					seconds);
		}
	}

	LCD_SendCommand(LCD_ADDR, 0b11000000);
	LCD_SendString(LCD_ADDR, timeStr);
}

enum CLOCK_BUTTON joyStick_btn_chk() {

//	printf("xy[0]=%d xy[1]=%d\r\n", xy[0], xy[1]);
	if (xy[1] > 4000) {
		printf("up\r\n");
		return UP;
	}
	if (xy[1] < 1000) {
		printf("down\r\n");
		return DOWN;
	}
	if (xy[0] > 4000) {
		printf("left\r\n");
		return LEFT;
	}
	if (xy[0] < 1000) {
		printf("right\r\n");
		return RIGHT;
	}
	if (xy[0] >= 2000 && xy[0] <= 2100) {
		printf("nothing\r\n");
		return NOTHING;
	}
}

HAL_StatusTypeDef update_nvitems(void) {
	uint32_t FirstSector, NbOfSectors, SECTORError;
	FLASH_EraseInitTypeDef EraseInitStruct;
	HAL_StatusTypeDef error = HAL_OK;
	uint32_t Address, i;
	uint64_t Data;
	uint8_t *ptr;

	HAL_FLASH_Unlock();

	FirstSector = FLASH_SECTOR_10;
	NbOfSectors = 1;
	EraseInitStruct.TypeErase = FLASH_TYPEERASE_SECTORS;
	EraseInitStruct.VoltageRange = FLASH_VOLTAGE_RANGE_1;
	EraseInitStruct.Sector = FirstSector;
	EraseInitStruct.NbSectors = NbOfSectors;

	if (HAL_FLASHEx_Erase(&EraseInitStruct, &SECTORError) == HAL_OK) {
		printf("\r\n--------------erase complete-----------\r\n");
	} else {
		printf("\r\n--------------erase error-----------\r\n");
		return error;
	}

	ptr = (uint8_t*) &default_nvitem;

	for (i = 0; i < sizeof(NVitemTypeDef); i++) {
		Address = (uint8_t*) nv_items + i;
		Data = *((uint8_t*) ptr + i);
		error = HAL_FLASH_Program(FLASH_TYPEPROGRAM_BYTE, Address, Data);

		printf("DATA: %ld\r\n", Data);

		if (error != HAL_OK) {
			printf("\r\n--------------overwrite error-----------\r\n");
			return error;
		}
	}
	printf("\r\n--------------overwrite complete-----------\r\n");
	HAL_FLASH_Lock();
}

void time_set_mode() {

	enum CLOCK_BUTTON t_button;
	enum CLOCK_BUTTON ble_key;

	t_button = joyStick_btn_chk();
	ble_key = current_state.button;
	if (t_position == 0) {
		printf("t_position 0 \r\n");
		switch (t_button) {
		case DOWN:
			if (stime.hours >= 12) {
				stime.hours -= 12;
				RTC_Time.TimeFormat = 1;
			} else {
				stime.hours += 12;
				RTC_Time.TimeFormat = 0;
			}
			break;
		case RIGHT:
			t_position = 1;
			break;
		default:
			break;
		}

		switch (ble_key) {
		case DOWN:
			if (stime.hours >= 12) {
				stime.hours -= 12;
				RTC_Time.TimeFormat = 1;
			} else {
				stime.hours += 12;
				RTC_Time.TimeFormat = 0;
			}
			current_state.button = NOTHING;
			break;
		case RIGHT:
			t_position = 1;
			current_state.button = NOTHING;
			break;
		default:
			break;
		}

	} else if (t_position == 1) {
		printf("t_position 1 \r\n");
		switch (t_button) {
		case RIGHT:
			t_position = 2;
			break;
		case LEFT:
			t_position = 0;
			break;
		case UP:
			stime.hours++;
			if (stime.hours >= 12) {
				stime.hours = 0;
				RTC_Time.TimeFormat = 0;
			}
			break;
		case DOWN:
			stime.hours--;
			if (stime.hours < 0) {
				stime.hours = 11;
			}
		default:
			break;
		}

		switch (ble_key) {
		case RIGHT:
			t_position = 2;
			current_state.button = NOTHING;
			break;
		case LEFT:
			t_position = 0;
			current_state.button = NOTHING;
			break;
		case UP:
			stime.hours++;
			if (stime.hours >= 12) {
				stime.hours = 0;
				RTC_Time.TimeFormat = 0;
			}
			current_state.button = NOTHING;
			break;
		case DOWN:
			stime.hours--;
			if (stime.hours < 0) {
				stime.hours = 11;
			}
			current_state.button = NOTHING;
		default:
			break;
		}

	} else if (t_position == 2) {
		printf("t_position 2 \r\n");
		switch (t_button) {
		case RIGHT:
			t_position = 3;
			break;
		case LEFT:
			t_position = 1;
		case UP:
			stime.minutes++;
			if (stime.minutes >= 60) {
				stime.minutes = 0;
			}
			break;
		case DOWN:
			stime.minutes--;
			if (stime.minutes < 0) {
				stime.minutes = 59;
			}
		default:
			break;
		}
		switch (ble_key) {
		case RIGHT:
			t_position = 3;
			current_state.button = NOTHING;
			break;
		case LEFT:
			t_position = 1;
			current_state.button = NOTHING;
		case UP:
			stime.minutes++;
			if (stime.minutes >= 60) {
				stime.minutes = 0;
			}
			current_state.button = NOTHING;
			break;
		case DOWN:
			stime.minutes--;
			if (stime.minutes < 0) {
				stime.minutes = 59;
			}
			current_state.button = NOTHING;
		default:
			break;
		}
	} else if (t_position == 3) {
		printf("t_position 3 \r\n");
		switch (t_button) {
		case RIGHT:

			default_nvitem.setting_time.hours = stime.hours;
			default_nvitem.setting_time.minutes = stime.minutes;
			default_nvitem.setting_time.seconds = stime.seconds;

			RTC_Time.Hours = default_nvitem.setting_time.hours;
			RTC_Time.Minutes = default_nvitem.setting_time.minutes;
			RTC_Time.Seconds = default_nvitem.setting_time.seconds;
			RTC_Time.Hours %= 12;

			update_nvitems();
			HAL_RTC_SetTime(&hrtc, &RTC_Time, RTC_FORMAT_BIN);
			lcd_clear();

			current_state.mode = NORMAL_STATE;
			break;
		case LEFT:
			t_position = 2;
			break;
		case UP:
			stime.seconds++;
			if (stime.seconds >= 60) {
				stime.seconds = 0;
			}
			break;
		case DOWN:
			stime.seconds--;
			if (stime.seconds < 0) {
				stime.seconds = 59;
			}
			break;
		default:
			break;

		}
		switch (ble_key) {
		case RIGHT:

			default_nvitem.setting_time.hours = stime.hours;
			default_nvitem.setting_time.minutes = stime.minutes;
			default_nvitem.setting_time.seconds = stime.seconds;

			RTC_Time.Hours = default_nvitem.setting_time.hours;
			RTC_Time.Minutes = default_nvitem.setting_time.minutes;
			RTC_Time.Seconds = default_nvitem.setting_time.seconds;
			RTC_Time.Hours %= 12;

			update_nvitems();
			HAL_RTC_SetTime(&hrtc, &RTC_Time, RTC_FORMAT_BIN);
			lcd_clear();

			current_state.mode = NORMAL_STATE;
			current_state.button = NOTHING;
			break;
		case LEFT:
			t_position = 2;
			current_state.button = NOTHING;
			break;
		case UP:
			stime.seconds++;
			if (stime.seconds >= 60) {
				stime.seconds = 0;
			}
			current_state.button = NOTHING;
			break;
		case DOWN:
			stime.seconds--;
			if (stime.seconds < 0) {
				stime.seconds = 59;
			}
			current_state.button = NOTHING;
			break;
		default:
			break;

		}
	}
	timeDisplay();
}

void alarm_set_mode(void) {

	enum CLOCK_BUTTON al_button;
	enum CLOCK_BUTTON ble_key;

	al_button = joyStick_btn_chk();
	ble_key = current_state.button;

	if (al_position == 0) {
		printf("al_position 0 \r\n");
		switch (al_button) {
		case DOWN:
			if (atime.hours >= 12) {
				atime.hours -= 12;
				RTC_Alarm.AlarmTime.TimeFormat = 1;
			} else {
				atime.hours += 12;
				RTC_Alarm.AlarmTime.TimeFormat = 0;
			}
			break;
		case RIGHT:
			al_position = 1;
			break;
		default:
			break;
		}

		switch (ble_key) {
		case DOWN:
			if (atime.hours >= 12) {
				atime.hours -= 12;
				RTC_Alarm.AlarmTime.TimeFormat = 1;
			} else {
				atime.hours += 12;
				RTC_Alarm.AlarmTime.TimeFormat = 0;
			}
			current_state.button = NOTHING;
			break;
		case RIGHT:
			al_position = 1;
			current_state.button = NOTHING;
			break;
		default:
			break;
		}
	} else if (al_position == 1) {
		printf("al_position 1 \r\n");
		switch (al_button) {
		case RIGHT:
			al_position = 2;
			break;
		case LEFT:
			al_position = 0;
			break;
		case UP:
			atime.hours++;
			if (atime.hours >= 12) {
				atime.hours = 0;
				RTC_Alarm.AlarmTime.TimeFormat = 0;
			}
			break;
		case DOWN:
			atime.hours--;
			if (atime.hours < 0) {
				atime.hours = 11;
			}
		default:
			break;
		}

		switch (ble_key) {
		case RIGHT:
			al_position = 2;
			current_state.button = NOTHING;
			break;
		case LEFT:
			al_position = 0;
			current_state.button = NOTHING;
			break;
		case UP:
			atime.hours++;
			if (atime.hours >= 12) {
				atime.hours = 0;
				RTC_Alarm.AlarmTime.TimeFormat = 0;
			}
			current_state.button = NOTHING;
			break;
		case DOWN:
			atime.hours--;
			if (atime.hours < 0) {
				atime.hours = 11;
			}
			current_state.button = NOTHING;
		default:
			break;
		}

	} else if (al_position == 2) {
		printf("al_position 2 \r\n");
		switch (al_button) {
		case RIGHT:
			al_position = 3;
			break;
		case LEFT:
			al_position = 1;
		case UP:
			atime.minutes++;
			if (atime.minutes >= 60) {
				atime.minutes = 0;
			}
			break;
		case DOWN:
			atime.minutes--;
			if (atime.minutes < 0) {
				atime.minutes = 59;
			}
		default:
			break;
		}
		switch (ble_key) {
		case RIGHT:
			al_position = 3;
			current_state.button = NOTHING;
			break;
		case LEFT:
			al_position = 1;
			current_state.button = NOTHING;
		case UP:
			atime.minutes++;
			if (atime.minutes >= 60) {
				atime.minutes = 0;
			}
			current_state.button = NOTHING;
			break;
		case DOWN:
			atime.minutes--;
			if (atime.minutes < 0) {
				atime.minutes = 59;
			}
			current_state.button = NOTHING;
		default:
			break;
		}
	} else if (al_position == 3) {
		printf("al_position 3 \r\n");
		switch (al_button) {
		case RIGHT:

			default_nvitem.alarm_time.hours = atime.hours;
			default_nvitem.alarm_time.minutes = atime.minutes;
			default_nvitem.alarm_time.seconds = atime.seconds;

			RTC_Alarm.AlarmTime.Hours = default_nvitem.alarm_time.hours;
			RTC_Alarm.AlarmTime.Minutes = default_nvitem.alarm_time.minutes;
			RTC_Alarm.AlarmTime.Seconds = default_nvitem.alarm_time.seconds;
			RTC_Alarm.AlarmTime.Hours %= 12;

			update_nvitems();
			HAL_RTC_SetAlarm(&hrtc, &RTC_Alarm, RTC_FORMAT_BIN);
			lcd_clear();

			current_state.mode = NORMAL_STATE;
			break;
		case LEFT:
			al_position = 2;
			break;
		case UP:
			atime.seconds++;
			if (atime.seconds >= 60) {
				atime.seconds = 0;
			}
			break;
		case DOWN:
			atime.seconds--;
			if (atime.seconds < 0) {
				atime.seconds = 59;
			}
			break;
		default:
			break;
		}
		switch (ble_key) {
		case RIGHT:

			default_nvitem.alarm_time.hours = atime.hours;
			default_nvitem.alarm_time.minutes = atime.minutes;
			default_nvitem.alarm_time.seconds = atime.seconds;

			RTC_Alarm.AlarmTime.Hours = default_nvitem.alarm_time.hours;
			RTC_Alarm.AlarmTime.Minutes = default_nvitem.alarm_time.minutes;
			RTC_Alarm.AlarmTime.Seconds = default_nvitem.alarm_time.seconds;
			RTC_Alarm.AlarmTime.Hours %= 12;

			update_nvitems();
			HAL_RTC_SetAlarm(&hrtc, &RTC_Alarm, RTC_FORMAT_BIN);
			lcd_clear();

			current_state.mode = NORMAL_STATE;
			current_state.button = NOTHING;
			break;
		case LEFT:
			al_position = 2;
			current_state.button = NOTHING;
			break;
		case UP:
			atime.seconds++;
			if (atime.seconds >= 60) {
				atime.seconds = 0;
			}
			current_state.button = NOTHING;
			break;
		case DOWN:
			atime.seconds--;
			if (atime.seconds < 0) {
				atime.seconds = 59;
			}
			current_state.button = NOTHING;
			break;
		default:
			break;
		}
	}
	timeDisplay();
}

void music_set_mode() {
	enum CLOCK_BUTTON mu_button;
	enum CLOCK_BUTTON ble_key;
	int mu_position, mu_cnt;

	mu_button = joyStick_btn_chk();
	mu_position = current_state.music_num;
	mu_cnt = sizeof(alarmMusic) / sizeof(alarmMusic[0]);
	ble_key = current_state.button;

	switch (mu_button) {
	case NOTHING:
		HAL_TIM_Base_Stop_IT(&htim2);
		HAL_TIM_PWM_Stop(&htim3, TIM_CHANNEL_3);
		break;
	case UP:
		mu_position++;
		if (mu_position == mu_cnt) {
			mu_position = 0;
		}
		break;
	case DOWN:
		mu_position--;
		if (mu_position < 0) {
			mu_position = mu_cnt - 1;
		}
		break;
	case RIGHT:
		HAL_TIM_Base_Stop_IT(&htim2);
		HAL_TIM_PWM_Stop(&htim3, TIM_CHANNEL_3);

		default_nvitem.alarm_music_num = mu_position;

		update_nvitems();
		lcd_clear();

		current_state.mode = NORMAL_STATE;
	default:
		break;
	}

	switch (ble_key) {
	case NOTHING:
		HAL_TIM_Base_Stop_IT(&htim2);
		HAL_TIM_PWM_Stop(&htim3, TIM_CHANNEL_3);
		break;
	case UP:
		mu_position++;
		if (mu_position == mu_cnt) {
			mu_position = 0;
		}
		current_state.button = NOTHING;
		break;
	case DOWN:
		mu_position--;
		if (mu_position < 0) {
			mu_position = mu_cnt - 1;
		}
		current_state.button = NOTHING;
		break;
	case RIGHT:
		HAL_TIM_Base_Stop_IT(&htim2);
		HAL_TIM_PWM_Stop(&htim3, TIM_CHANNEL_3);

		default_nvitem.alarm_music_num = mu_position;

		update_nvitems();
		lcd_clear();

		current_state.mode = NORMAL_STATE;
		current_state.button = NOTHING;
	default:
		break;
	}

	current_state.music_num = mu_position;

	musicSelect(mu_position);
	musicDisplay(mu_position);

}

void melodyPlay(_BUZZER* song, int melodySize) {

		uint16_t melody = (uint16_t) (1000000 / song[seq].freq);

		if (stop == 1) {
			TIM2->ARR = 2000;
			HAL_TIM_PWM_Stop(&htim3, TIM_CHANNEL_3);
			stop = 0;
		} else {
			if (seq == melodySize || current_state.mode != MUSIC_SELECT) {
				seq = 0;
			} else {
				TIM3->ARR = melody;
				TIM3->CCR3 = melody / 2;
				TIM2->ARR = song[seq].delay * 2000;
				HAL_TIM_PWM_Start(&htim3, TIM_CHANNEL_3);
				stop = 1;
				seq++;
			}
		}
		printf("    seq is %d\r\n", seq);
}

void musicDisplay(int musicNumber) {
	char music_str[30];

	sprintf(music_str, "%d. %s ", musicNumber,
			alarmMusic[musicNumber].musicTitle);

	LCD_SendCommand(LCD_ADDR, 0b10000000);
	LCD_SendString(LCD_ADDR, "Music Setting ");
	LCD_SendCommand(LCD_ADDR, 0b11000000);
	LCD_SendString(LCD_ADDR, music_str);
}

void musicSelect(int musicNumber) {

	void (*fp) (_BUZZER*, int);

	fp = melodyPlay;

	switch(musicNumber) {
	case 0:
		printf("schoolBell play!");
		melodyPlay(schoolBell, sizeof(schoolBell)/sizeof(schoolBell[0]));
		if(current_state.music_num != musicNumber) {
			seq = 0;
		}
		break;
	case 1:
		printf("jingleBell play!");
		melodyPlay(jingleBell, sizeof(jingleBell)/sizeof(jingleBell[0]));
		if(current_state.music_num != musicNumber) {
			seq = 0;
		}
		break;
	case 2:
		printf("silent night play!");
		melodyPlay(silentNight, sizeof(silentNight)/sizeof(silentNight[0]));
		if(current_state.music_num != musicNumber) {
					seq = 0;
				}
		break;
	default:
		break;

	}

}

enum CLOCK_BUTTON key_value_check() {
	switch(key_value) {
	case 'u':
		return UP;
		break;
	case 'd':
		return DOWN;
		break;
	case 'l':
		return LEFT;
		break;
	case 'r':
		return RIGHT;
		break;
	default:
		break;
	}
}

/* USER CODE END 4 */

void Error_Handler(void)
{
	__disable_irq();
	while (1) {
	}
}
